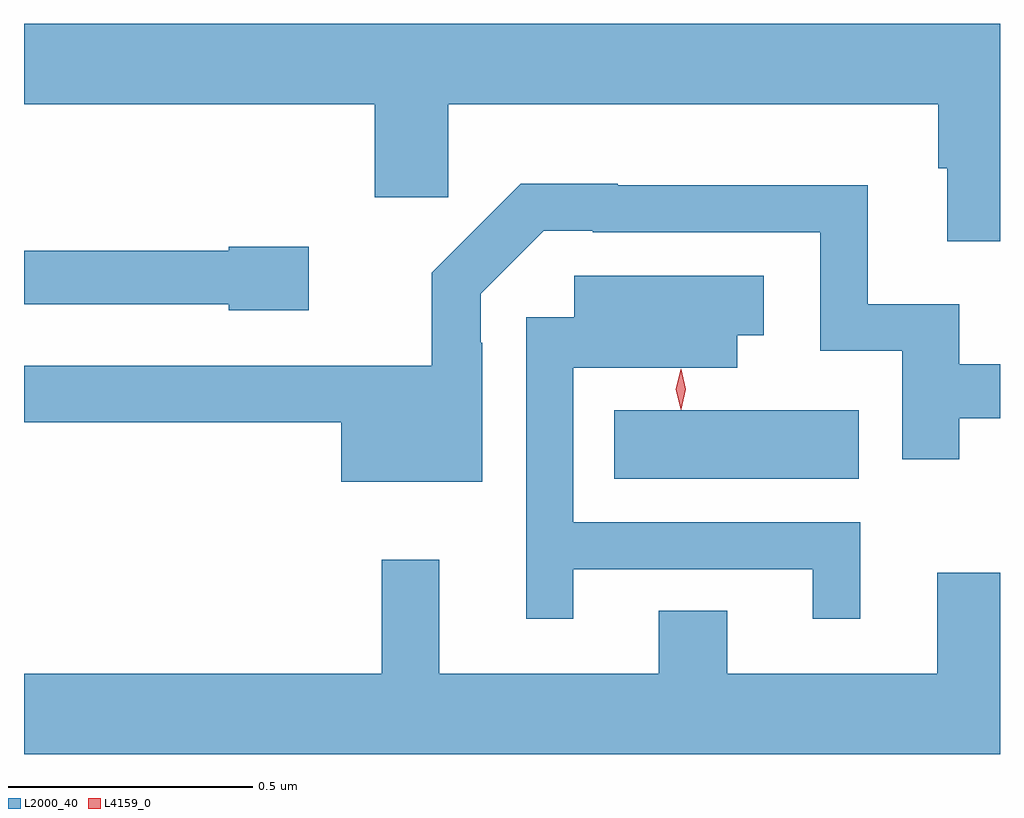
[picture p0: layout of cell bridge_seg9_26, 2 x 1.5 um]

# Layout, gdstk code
import gdstk
lib = gdstk.Library(unit=1e-6, precision=1e-09)
def R(c, l, rs):  # rectangles x0, y0, x1, y1
    for r in rs: c.add(gdstk.rectangle(r[:2], r[2:], *l))
def P(c, l, *ps):  # polygons
    for p in ps: c.add(gdstk.Polygon(p, *l))
L2000_40 = (2000, 40)
L4159_0 = (4159, 0)

bridge_seg9_26 = lib.new_cell('bridge_seg9_26')
R(bridge_seg9_26, L2000_40, [(990.646,1187.66,991.147,1187.8)])
P(bridge_seg9_26, L2000_40, [(991.436,1188.592),(989.436,1188.592),(989.436,1188.428),(990.155,1188.428),(990.155,1188.237),(990.305,1188.237),(990.305,1188.428),(991.309,1188.428),(991.309,1188.296),(991.328,1188.296),(991.328,1188.147),(991.436,1188.147)],
  [(990.375,1187.939),(990.372,1187.939),(990.372,1188.039),(990.501,1188.168),(990.601,1188.168),(990.601,1188.165),(991.068,1188.165),(991.068,1187.922),(991.236,1187.922),(991.236,1187.7),(991.352,1187.7),(991.352,1187.784),(991.436,1187.784),(991.436,1187.895),(991.352,1187.895),(991.352,1188.018),(991.165,1188.018),(991.165,1188.262),(990.653,1188.262),(990.653,1188.265),(990.454,1188.265),(990.272,1188.082),(990.272,1187.892),(989.436,1187.892),(989.436,1187.776),(990.086,1187.776),(990.086,1187.654),(990.375,1187.654)],
  [(990.019,1188.135),(989.856,1188.135),(989.856,1188.127),(989.436,1188.127),(989.436,1188.018),(989.856,1188.018),(989.856,1188.005),(990.019,1188.005)],
  [(990.562,1187.475),(991.052,1187.475),(991.052,1187.373),(991.15,1187.373),(991.15,1187.571),(990.561,1187.571),(990.561,1187.888),(990.898,1187.888),(990.898,1187.954),(990.952,1187.954),(990.952,1188.076),(990.564,1188.076),(990.564,1187.991),(990.465,1187.991),(990.465,1187.373),(990.562,1187.373)],
  [(991.436,1187.467),(991.307,1187.467),(991.307,1187.26),(990.877,1187.26),(990.877,1187.39),(990.737,1187.39),(990.737,1187.26),(990.287,1187.26),(990.287,1187.494),(990.169,1187.494),(990.169,1187.26),(989.436,1187.26),(989.436,1187.096),(991.436,1187.096)])
P(bridge_seg9_26, L4159_0, [(990.783,1187.801),(990.782,1187.802),(990.772,1187.843),(990.782,1187.884),(990.782,1187.884),(990.783,1187.884),(990.792,1187.843),(990.783,1187.802)])

lib.write_gds('bridge_seg9_26.gds')
